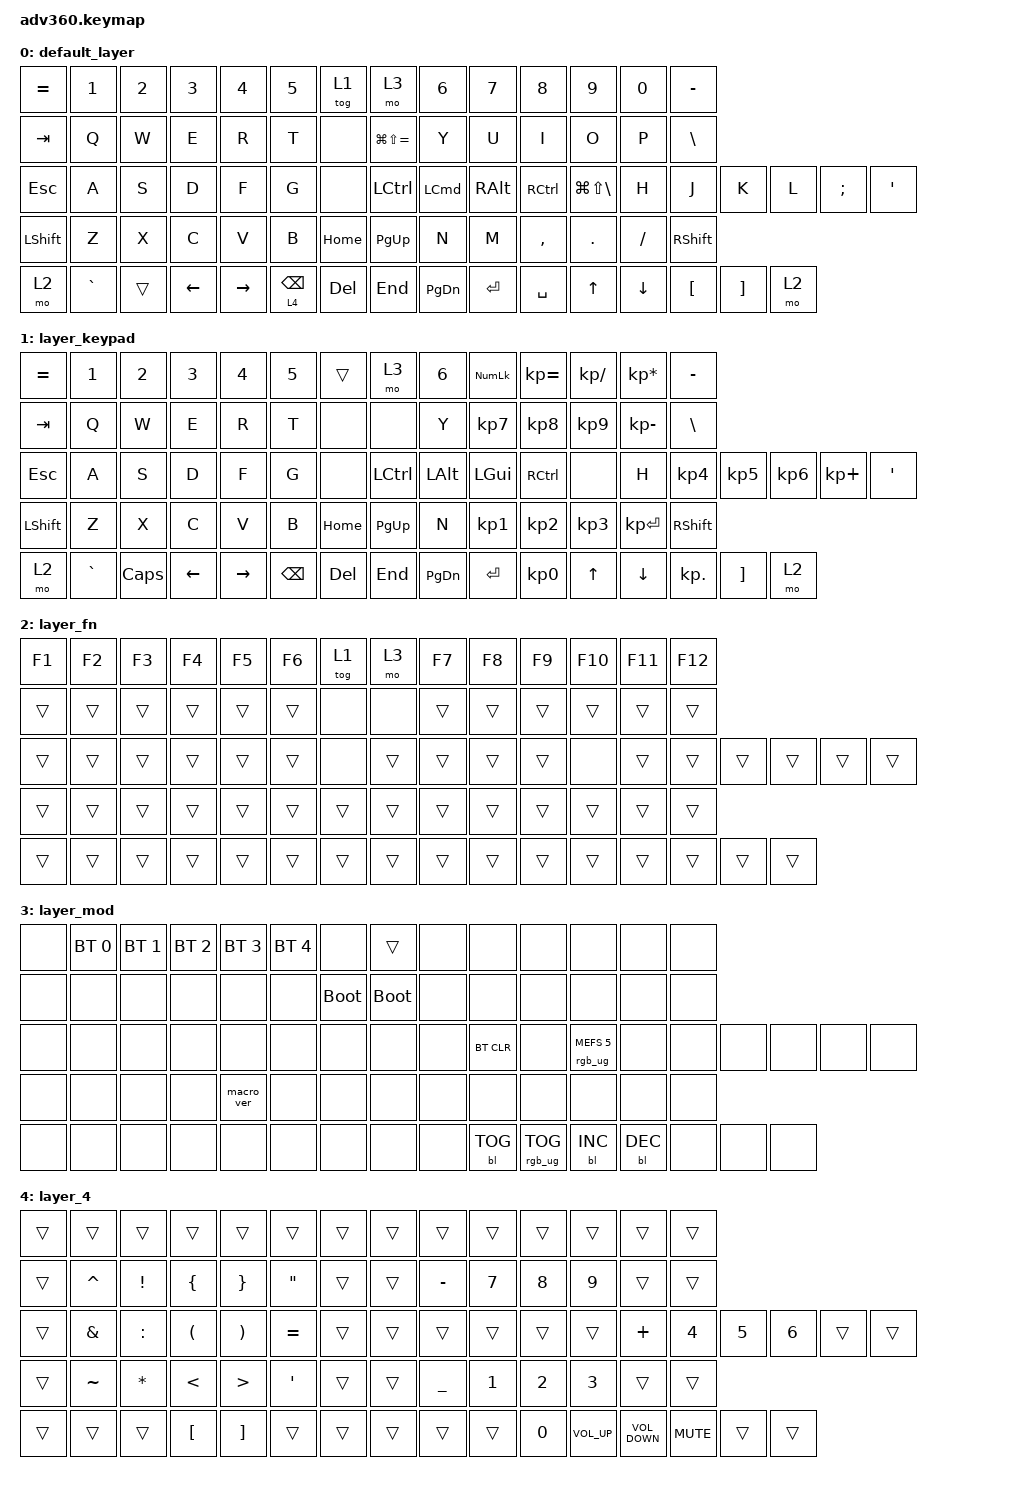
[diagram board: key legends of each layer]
/*
 * Copyright (c) 2020 The ZMK Contributors
 *
 * SPDX-License-Identifier: MIT
 */
/* THIS FILE WAS GENERATED!
 *
 * This file was generated automatically. You may or may not want to
 * edit it directly.
 */

#include <behaviors.dtsi>
#include <dt-bindings/zmk/keys.h>
#include <dt-bindings/zmk/bt.h>
#include <dt-bindings/zmk/rgb.h>
#include <dt-bindings/zmk/stp.h>
#include <dt-bindings/zmk/backlight.h>
#include <dt-bindings/zmk/pointing.h>

// CONFIGURATION


/ {
    behaviors {
        #include "macros.dtsi"
        #include "version.dtsi"

        hm: homerow_mods {
            compatible = "zmk,behavior-hold-tap";
            label = "HOMEROW_MODS";
            #binding-cells = <2>;
            tapping-term-ms = <200>;
            quick_tap_ms = <175>;
            flavor = "tap-preferred";
            bindings = <&kp>, <&kp>;
        };

        /* tandem:begin */
        // Added by Tandem. Edits inside this block are overwritten.
        // Tap: key. Hold: layer or modifier. Tap, then hold: the key repeats.
        ltr: layer_tap_repeat {
            compatible = "zmk,behavior-hold-tap";
            #binding-cells = <2>;
            flavor = "tap-preferred";
            tapping-term-ms = <200>;
            quick-tap-ms = <200>;
            bindings = <&mo>, <&kp>;
        };
        mtr: mod_tap_repeat {
            compatible = "zmk,behavior-hold-tap";
            #binding-cells = <2>;
            flavor = "hold-preferred";
            tapping-term-ms = <200>;
            quick-tap-ms = <200>;
            bindings = <&kp>, <&kp>;
        };
        /* tandem:end */
    };
    keymap {
        compatible = "zmk,keymap";

        default_layer {
            bindings = <
&kp EQUAL  &kp N1     &kp N2  &kp N3    &kp N4     &kp N5            &tog 1    &mo 3              &kp N6     &kp N7         &kp N8     &kp N9            &kp N0    &kp MINUS
&kp TAB    &kp Q      &kp W   &kp E     &kp R      &kp T             &none     &kp LG(LS(EQUAL))  &kp Y      &kp U          &kp I      &kp O             &kp P     &kp BSLH
&kp ESC    &kp A      &kp S   &kp D     &kp F      &kp G             &none     &kp LCTRL          &kp LCMD   &kp RIGHT_ALT  &kp RCTRL  &kp LG(LS(BSLH))  &kp H     &kp J      &kp K     &kp L  &kp SEMI  &kp SQT
&kp LSHFT  &kp Z      &kp X   &kp C     &kp V      &kp B             &kp HOME  &kp PG_UP          &kp N      &kp M          &kp COMMA  &kp DOT           &kp FSLH  &kp RSHFT
&mo 2      &kp GRAVE  &trans  &kp LEFT  &kp RIGHT  &ltr 4 BACKSPACE  &kp DEL   &kp END            &kp PG_DN  &kp ENTER      &kp SPACE  &kp UP            &kp DOWN  &kp LBKT   &kp RBKT  &mo 2
            >;
        };

        layer_keypad {
            bindings = <
&kp EQUAL  &kp N1     &kp N2    &kp N3    &kp N4     &kp N5    &trans    &mo 3      &kp N6     &kp KP_NUM  &kp KP_EQUAL  &kp KP_DIVIDE  &kp KP_MULTIPLY  &kp MINUS
&kp TAB    &kp Q      &kp W     &kp E     &kp R      &kp T     &none     &none      &kp Y      &kp KP_N7   &kp KP_N8     &kp KP_N9      &kp KP_MINUS     &kp BSLH
&kp ESC    &kp A      &kp S     &kp D     &kp F      &kp G     &none     &kp LCTRL  &kp LALT   &kp LGUI    &kp RCTRL     &none          &kp H            &kp KP_N4   &kp KP_N5  &kp KP_N6  &kp KP_PLUS  &kp SQT
&kp LSHFT  &kp Z      &kp X     &kp C     &kp V      &kp B     &kp HOME  &kp PG_UP  &kp N      &kp KP_N1   &kp KP_N2     &kp KP_N3      &kp KP_ENTER     &kp RSHFT
&mo 2      &kp GRAVE  &kp CAPS  &kp LEFT  &kp RIGHT  &kp BSPC  &kp DEL   &kp END    &kp PG_DN  &kp ENTER   &kp KP_N0     &kp UP         &kp DOWN         &kp KP_DOT  &kp RBKT   &mo 2
            >;
        };

        layer_fn {
            bindings = <
&kp F1  &kp F2  &kp F3  &kp F4  &kp F5  &kp F6  &tog 1  &mo 3   &kp F7  &kp F8  &kp F9  &kp F10  &kp F11  &kp F12
&trans  &trans  &trans  &trans  &trans  &trans  &none   &none   &trans  &trans  &trans  &trans   &trans   &trans
&trans  &trans  &trans  &trans  &trans  &trans  &none   &trans  &trans  &trans  &trans  &none    &trans   &trans   &trans  &trans  &trans  &trans
&trans  &trans  &trans  &trans  &trans  &trans  &trans  &trans  &trans  &trans  &trans  &trans   &trans   &trans
&trans  &trans  &trans  &trans  &trans  &trans  &trans  &trans  &trans  &trans  &trans  &trans   &trans   &trans   &trans  &trans
            >;
        };

        layer_mod {
            bindings = <
&none  &bt BT_SEL 0  &bt BT_SEL 1  &bt BT_SEL 2  &bt BT_SEL 3  &bt BT_SEL 4  &none        &trans       &none  &none       &none            &none                   &none       &none
&none  &none         &none         &none         &none         &none         &bootloader  &bootloader  &none  &none       &none            &none                   &none       &none
&none  &none         &none         &none         &none         &none         &none        &none        &none  &bt BT_CLR  &none            &rgb_ug RGB_MEFS_CMD 5  &none       &none  &none  &none  &none  &none
&none  &none         &none         &none         &macro_ver    &none         &none        &none        &none  &none       &none            &none                   &none       &none
&none  &none         &none         &none         &none         &none         &none        &none        &none  &bl BL_TOG  &rgb_ug RGB_TOG  &bl BL_INC              &bl BL_DEC  &none  &none  &none
            >;
        };

        layer_4 {
            bindings = <
&trans  &trans     &trans           &trans            &trans             &trans     &trans  &trans  &trans          &trans  &trans  &trans           &trans             &trans
&trans  &kp CARET  &kp EXCLAMATION  &kp LBRC          &kp RBRC           &kp DQT    &trans  &trans  &kp MINUS       &kp N7  &kp N8  &kp N9           &trans             &trans
&trans  &kp AMPS   &kp COLON        &kp LPAR          &kp RPAR           &kp EQUAL  &trans  &trans  &trans          &trans  &trans  &trans           &kp PLUS           &kp N4      &kp N5  &kp N6  &trans  &trans
&trans  &kp TILDE  &kp ASTERISK     &kp LT            &kp GT             &kp SQT    &trans  &trans  &kp UNDERSCORE  &kp N1  &kp N2  &kp N3           &trans             &trans
&trans  &trans     &trans           &kp LEFT_BRACKET  &kp RIGHT_BRACKET  &trans     &trans  &trans  &trans          &trans  &kp N0  &kp C_VOLUME_UP  &kp C_VOLUME_DOWN  &kp K_MUTE  &trans  &trans
            >;
        };
    };
};
